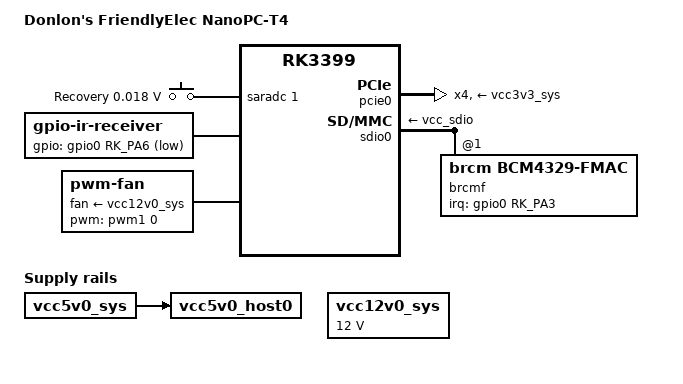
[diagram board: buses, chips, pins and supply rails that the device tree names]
// SPDX-License-Identifier: (GPL-2.0+ OR MIT)
/*
 * FriendlyElec NanoPC-T4 board device tree source
 *
 * Copyright (c) 2018 FriendlyElec Computer Tech. Co., Ltd.
 * (http://www.friendlyarm.com)
 *
 * Copyright (c) 2018 Collabora Ltd.
 */

/dts-v1/;
#include "rk3399-nanopi4.dtsi"

/ {
	model = "Donlon's FriendlyElec NanoPC-T4";
	compatible = "friendlyelec,nanopc-t4", "rockchip,rk3399";

	vcc12v0_sys: vcc12v0-sys {
		compatible = "regulator-fixed";
		regulator-always-on;
		regulator-boot-on;
		regulator-max-microvolt = <12000000>;
		regulator-min-microvolt = <12000000>;
		regulator-name = "vcc12v0_sys";
	};

	vcc5v0_host0: vcc5v0-host0 {
		compatible = "regulator-fixed";
		regulator-always-on;
		regulator-boot-on;
		regulator-name = "vcc5v0_host0";
		vin-supply = <&vcc5v0_sys>;
	};

	adc-keys {
		compatible = "adc-keys";
		io-channels = <&saradc 1>;
		io-channel-names = "buttons";
		keyup-threshold-microvolt = <1800000>;
		poll-interval = <100>;

		recovery {
			label = "Recovery";
			linux,code = <KEY_VENDOR>;
			press-threshold-microvolt = <18000>;
		};
	};

	ir-receiver {
		compatible = "gpio-ir-receiver";
		gpios = <&gpio0 RK_PA6 GPIO_ACTIVE_LOW>;
		pinctrl-names = "default";
		pinctrl-0 = <&ir_rx>;
	};

	fan: pwm-fan {
		compatible = "pwm-fan";
		/*
		 * With 20KHz PWM and an EVERCOOL EC4007H12SA fan, these levels
		 * work out to 0, ~1200, ~3000, and 5000RPM respectively.
		 */
		cooling-levels = <0 12 18 255>;
		#cooling-cells = <2>;
		fan-supply = <&vcc12v0_sys>;
		pwms = <&pwm1 0 50000 0>;
	};
};

&cpu_thermal {
	trips {
		cpu_warm: cpu_warm {
			temperature = <50000>;
			hysteresis = <15000>;
			type = "active";
		};

		cpu_hot: cpu_hot {
			temperature = <65000>;
			hysteresis = <15000>;
			type = "active";
		};
	};

	cooling-maps {
		map2 {
			trip = <&cpu_warm>;
			cooling-device = <&fan THERMAL_NO_LIMIT 1>;
		};

		map3 {
			trip = <&cpu_hot>;
			cooling-device = <&fan 2 THERMAL_NO_LIMIT>;
		};
	};
};

&pcie0 {
	ep-gpios = <&gpio2 RK_PA4 GPIO_ACTIVE_HIGH>;
	num-lanes = <4>;
	vpcie3v3-supply = <&vcc3v3_sys>;
};

&pinctrl {
	ir {
		ir_rx: ir-rx {
			/* external pullup to VCC3V3_SYS, despite being 1.8V :/ */
			rockchip,pins = <0 RK_PA6 1 &pcfg_pull_none>;
		};
	};

	wifi {
		wifi_host_wake_l: wifi-host-wake-l {
			rockchip,pins = <0 RK_PA3 RK_FUNC_GPIO &pcfg_pull_none>;
		};
	};
};

&sdio0 {
	/* Power supply */
	vqmmc-supply = &vcc1v8_s3;      /* IO line */
	vmmc-supply = &vcc_sdio;        /* card's power */

	#address-cells = <1>;
	#size-cells = <0>;
	status = "okay";

	brcmf: wifi@1 {
		reg = <1>;
		compatible = "brcm,bcm4329-fmac";
		interrupt-parent = <&gpio0>;
		interrupts = <RK_PA3 GPIO_ACTIVE_HIGH>;
		interrupt-names = "host-wake";
		brcm,drive-strength = <5>;
		pinctrl-names = "default";
		pinctrl-0 = <&wifi_host_wake_l>;
	};
};

&u2phy0_host {
	phy-supply = <&vcc5v0_host0>;
};

&u2phy1_host {
	phy-supply = <&vcc5v0_host0>;
};

&vcc5v0_sys {
	vin-supply = <&vcc12v0_sys>;
};

&vcc3v3_sys {
	vin-supply = <&vcc12v0_sys>;
};

&vbus_typec {
	enable-active-high;
	gpios = <&gpio4 RK_PD2 GPIO_ACTIVE_HIGH>;
	vin-supply = <&vcc5v0_sys>;
};
